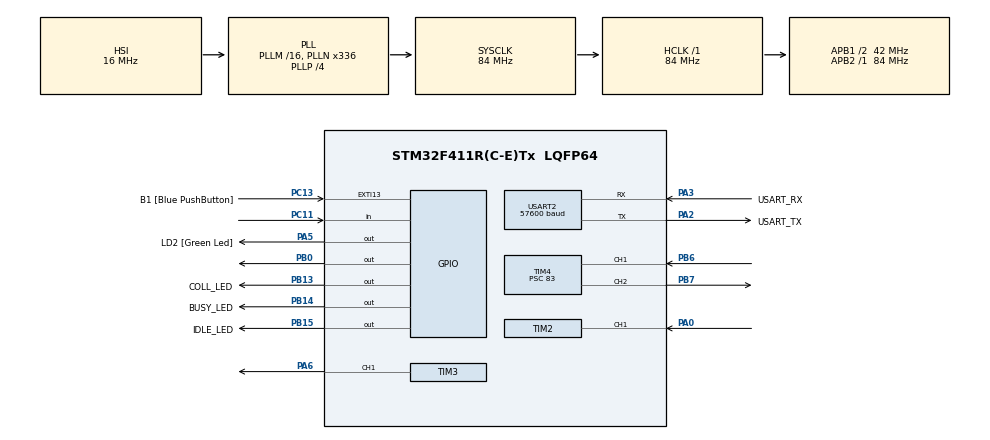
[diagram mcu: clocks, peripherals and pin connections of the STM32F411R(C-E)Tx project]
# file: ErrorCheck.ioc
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Mcu.Family=STM32F4
Mcu.Name=STM32F411R(C-E)Tx
Mcu.Package=LQFP64
NVIC.PriorityGroup=NVIC_PRIORITYGROUP_0
NVIC.TIM2_IRQn=true\:0\:0\:false\:false\:true\:true\:true\:true
NVIC.TIM3_IRQn=true\:0\:0\:false\:false\:true\:true\:true\:true
NVIC.TIM4_IRQn=true\:0\:0\:false\:false\:true\:true\:true\:true
NVIC.TIM5_IRQn=true\:0\:0\:false\:false\:true\:true\:true\:true
PA0-WKUP.Signal=S_TIM2_CH1_ETR
PA13.GPIO_Label=TMS
PA13.Mode=Serial_Wire
PA13.Signal=SYS_JTMS-SWDIO
PA14.GPIO_Label=TCK
PA14.Mode=Serial_Wire
PA14.Signal=SYS_JTCK-SWCLK
PA2.GPIO_Label=USART_TX
PA2.Mode=Asynchronous
PA2.Signal=USART2_TX
PA3.GPIO_Label=USART_RX
PA3.Mode=Asynchronous
PA3.Signal=USART2_RX
PA5.GPIO_Label=LD2 [Green Led]
PA5.Signal=GPIO_Output
PA6.Signal=S_TIM3_CH1
PB0.Signal=GPIO_Output
PB13.GPIO_Label=COLL_LED
PB13.Signal=GPIO_Output
PB14.GPIO_Label=BUSY_LED
PB14.Signal=GPIO_Output
PB15.GPIO_Label=IDLE_LED
PB15.Signal=GPIO_Output
PB3.GPIO_Label=SWO
PB3.Signal=SYS_JTDO-SWO
PB6.Signal=S_TIM4_CH1
PB7.Signal=S_TIM4_CH2
PC11.Signal=GPIO_Input
PC13-ANTI_TAMP.GPIO_Label=B1 [Blue PushButton]
PC13-ANTI_TAMP.GPIO_ModeDefaultEXTI=GPIO_MODE_IT_FALLING
PC13-ANTI_TAMP.Signal=GPXTI13
PC14-OSC32_IN.Mode=LSE-External-Oscillator
PC14-OSC32_IN.Signal=RCC_OSC32_IN
PC15-OSC32_OUT.Mode=LSE-External-Oscillator
PC15-OSC32_OUT.Signal=RCC_OSC32_OUT
PH0\ -\ OSC_IN.Mode=HSE-External-Clock-Source
PH0\ -\ OSC_IN.Signal=RCC_OSC_IN
PH1\ -\ OSC_OUT.Mode=HSE-External-Clock-Source
PH1\ -\ OSC_OUT.Signal=RCC_OSC_OUT
ProjectManager.HeapSize=0x200
ProjectManager.StackSize=0x400
ProjectManager.TargetToolchain=STM32CubeIDE
RCC.48MHZClocksFreq_Value=84000000
RCC.AHBFreq_Value=84000000
RCC.APB1CLKDivider=RCC_HCLK_DIV2
RCC.APB1Freq_Value=42000000
RCC.APB1TimFreq_Value=84000000
RCC.APB2Freq_Value=84000000
RCC.APB2TimFreq_Value=84000000
RCC.CortexFreq_Value=84000000
RCC.FLatency-AdvancedSettings=FLASH_LATENCY_2
RCC.HCLKFreq_Value=84000000
RCC.HSE_VALUE=8000000
RCC.HSI_VALUE=16000000
RCC.PLLN=336
RCC.PLLP=RCC_PLLP_DIV4
RCC.SYSCLKFreq_VALUE=84000000
RCC.SYSCLKSource=RCC_SYSCLKSOURCE_PLLCLK
RCC.VCOOutputFreq_Value=336000000
SH.S_TIM2_CH1_ETR.0=TIM2_CH1,Input_Capture1_from_TI1
SH.S_TIM3_CH1.0=TIM3_CH1,Output Compare1 CH1
SH.S_TIM4_CH1.0=TIM4_CH1,Input_Capture1_from_TI1
SH.S_TIM4_CH2.0=TIM4_CH2,Output Compare2 CH2
TIM2.Channel-Input_Capture1_from_TI1=TIM_CHANNEL_1
TIM2.ICPolarity_CH1=TIM_INPUTCHANNELPOLARITY_BOTHEDGE
TIM2.Prescaler=83
TIM3.Channel-Output\ Compare1\ CH1=TIM_CHANNEL_1
TIM3.OCMode_1=TIM_OCMODE_TIMING
TIM3.Period=500
TIM3.Prescaler=83
TIM3.Pulse-Output\ Compare1\ CH1=500
TIM4.Channel-Input_Capture1_from_TI1=TIM_CHANNEL_1
TIM4.Channel-Output\ Compare2\ CH2=TIM_CHANNEL_2
TIM4.ICPolarity_CH1=TIM_INPUTCHANNELPOLARITY_BOTHEDGE
TIM4.OC2Preload=ENABLE
TIM4.OCMode_2=TIM_OCMODE_TIMING
TIM4.Prescaler=83
TIM4.Pulse-Output\ Compare2\ CH2=1110
TIM5.Prescaler=41999
USART2.BaudRate=57600
USART2.VirtualMode=VM_ASYNC
VP_TIM5_VS_ClockSourceINT.Mode=Internal
board=NUCLEO-F411RE

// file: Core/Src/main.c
/* USER CODE BEGIN Header */
/**
  ******************************************************************************
  * @file           : main.c
  * @brief          : Main program body
  ******************************************************************************
  * @attention
  *
  * Copyright (c) 2025 STMicroelectronics.
  * All rights reserved.
  *
  * This software is licensed under terms that can be found in the LICENSE file
  * in the root directory of this software component.
  * If no LICENSE file comes with this software, it is provided AS-IS.
  *
  ******************************************************************************
  */
/* USER CODE END Header */
#include "main.h"

/* USER CODE BEGIN PTD */

typedef enum
{
  IDLE,
  BUSY,
  COLLISION,
} state_t;

/* USER CODE END PTD */

/* USER CODE BEGIN PD */
#define DELAY 1110
#define HALF_BIT 700
#define LEN 255
#define NMAX 2000
#define MY_ADDR 0x28
/* PB6 - Channel Monitor
 * PA5 - Transmitter
 * PA0 - Receiver
 */
/* USER CODE END PD */

TIM_HandleTypeDef htim2;
TIM_HandleTypeDef htim3;
TIM_HandleTypeDef htim4;
TIM_HandleTypeDef htim5;

UART_HandleTypeDef huart2;

/* USER CODE BEGIN PV */
state_t curr_state;
uint8_t phase = 0;
uint32_t curr_index = 0;
char curr_char;
uint8_t curr_bit = 0;
uint8_t rec_bit = 0;
uint32_t rec_index = 0;
uint8_t size = 0;
char input[261] = "";
char msg_buff[LEN] = "";
char option;
uint8_t curr_level;
uint8_t prev_level = 1;
uint32_t last_edge = 0;
bool first_edge = true;
bool print_msg = false;
bool tx_failed = false;
bool start = false;
uint8_t attempts = 0;
/* USER CODE END PV */

void SystemClock_Config(void);
static void MX_GPIO_Init(void);
static void MX_USART2_UART_Init(void);
static void MX_TIM4_Init(void);
static void MX_TIM3_Init(void);
static void MX_TIM2_Init(void);
static void MX_TIM5_Init(void);
/* USER CODE BEGIN PFP */
//uint8_t gencrc(uint8_t *data, uint32_t len) {
//	uint8_t crc = 0xff;
//	uint32_t i, j;
//	for (i = 0; i < len; i++) {
//		crc ^= data[i];
//		for (j = 0; j < 8; j++) {
//			if ((crc & 0x80) != 0)
//				crc = (uint8_t) ((crc << 1) ^ 0x31);
//			else
//				crc <<= 1;
//		}
//	}
//	return crc;
//}
/* USER CODE END PFP */

int main(void)
{

  /* MCU Configuration--------------------------------------------------------*/

  /* Reset of all peripherals, Initializes the Flash interface and the Systick. */
  HAL_Init();

  /* Configure the system clock */
  SystemClock_Config();

  /* Initialize all configured peripherals */
  MX_GPIO_Init();
  MX_USART2_UART_Init();
  MX_TIM4_Init();
  MX_TIM3_Init();
  MX_TIM2_Init();
  MX_TIM5_Init();
  /* USER CODE BEGIN 2 */

  curr_state = IDLE;
  HAL_GPIO_WritePin(IDLE_LED_GPIO_Port, IDLE_LED_Pin, GPIO_PIN_SET);
  HAL_GPIO_WritePin(GPIOA, GPIO_PIN_5, GPIO_PIN_SET); //SET IDLE
  printf("List of commands\n"
		  "t - Transmit Message\n"
		  "r - Check for received message\n");
  srand(HAL_GetTick());
  HAL_TIM_IC_Start_IT(&htim4, TIM_CHANNEL_1);
  HAL_TIM_IC_Start_IT(&htim2, TIM_CHANNEL_1);
  /* USER CODE END 2 */

  /* Infinite loop */
  while (1)
  {

    /* USER CODE BEGIN 3 */
	  	printf("Enter cmd\n");
	    scanf(" %c", &option);
	    switch (option) {
		case 't':
			printf("Enter Address:\n");
			uint8_t dest_addr;
			scanf("% d", &dest_addr);
			printf("Enter Message:\n");
			char msg[LEN];
			scanf(" %[^\n]", &msg);
			size = strlen(msg);
			input[0] = 0x55;
			input[1] = MY_ADDR;
			input[2] = dest_addr;
			input[3] = size;
			input[4] = 0x00;
			for (uint8_t i = 0; i < size; i++) {
				input[5 + i] = msg[i];
			}
			input[5 + size] = 0xAA;
			if(HAL_GPIO_ReadPin(GPIOB, GPIO_PIN_6) == GPIO_PIN_RESET){
			  	  curr_state = COLLISION;
			}
			phase = 0;
			curr_bit = 0;
			curr_index = 0;
			curr_char = input[curr_index];
			HAL_TIM_OC_Start_IT(&htim3, TIM_CHANNEL_1);
			break;
		case 'r':
			if (print_msg) {
				printf("Received message from 0x%02X: ", msg_buff[1]);
				for (uint16_t i = 5; i < rec_index - 1; i++) {
					printf("%c", msg_buff[i]);
				}
				printf("\n");
			} else{
				printf("No received messages\n");
			}
			print_msg = false;
			rec_index = 0;
			rec_bit = 0;
			uint8_t prev_level = 1;
			bool first_edge = true;
			memset(msg_buff, 0, LEN);
			break;
		default:
			break;
		}
		switch (curr_state) {
		case IDLE:
//			if (start) {
//				HAL_TIM_OC_Start_IT(&htim3, TIM_CHANNEL_1);
//				start = false;
//			}
			HAL_GPIO_WritePin(IDLE_LED_GPIO_Port, IDLE_LED_Pin, GPIO_PIN_SET);
			HAL_GPIO_WritePin(COLL_LED_GPIO_Port, COLL_LED_Pin, GPIO_PIN_RESET);
			HAL_GPIO_WritePin(BUSY_LED_GPIO_Port, BUSY_LED_Pin, GPIO_PIN_RESET);
			break;
		case BUSY:
			HAL_GPIO_WritePin(BUSY_LED_GPIO_Port, BUSY_LED_Pin, GPIO_PIN_SET);
			HAL_GPIO_WritePin(IDLE_LED_GPIO_Port, IDLE_LED_Pin, GPIO_PIN_RESET);
			HAL_GPIO_WritePin(COLL_LED_GPIO_Port, COLL_LED_Pin, GPIO_PIN_RESET);
			break;
		case COLLISION:
			if (curr_index < 6 + size && attempts <= 10) {
				HAL_TIM_OC_Stop(&htim3, TIM_CHANNEL_1);
				phase = 0;
				curr_bit = 0;
				curr_index = 0;
				curr_char = input[curr_index];
				tx_failed = true;
				TIM5->ARR = (rand() % NMAX) + 1;
				TIM5->EGR |= 0x1;
				HAL_TIM_Base_Start_IT(&htim5);
				attempts++;
			}
			if(attempts > 10){
				HAL_TIM_OC_Stop(&htim3, TIM_CHANNEL_1);
				phase = 0;
				curr_bit = 0;
				curr_index = 0;
				curr_char = input[curr_index];
			}
			HAL_GPIO_WritePin(COLL_LED_GPIO_Port, COLL_LED_Pin, GPIO_PIN_SET);
			HAL_GPIO_WritePin(IDLE_LED_GPIO_Port, IDLE_LED_Pin, GPIO_PIN_RESET);
			HAL_GPIO_WritePin(BUSY_LED_GPIO_Port, BUSY_LED_Pin, GPIO_PIN_RESET);
			break;
		default:
			break;
		}
	}
  /* USER CODE END 3 */
}

void SystemClock_Config(void)
{
  RCC_OscInitTypeDef RCC_OscInitStruct = {0};
  RCC_ClkInitTypeDef RCC_ClkInitStruct = {0};

  /** Configure the main internal regulator output voltage
  */
  __HAL_RCC_PWR_CLK_ENABLE();
  __HAL_PWR_VOLTAGESCALING_CONFIG(PWR_REGULATOR_VOLTAGE_SCALE1);

  /** Initializes the RCC Oscillators according to the specified parameters
  * in the RCC_OscInitTypeDef structure.
  */
  RCC_OscInitStruct.OscillatorType = RCC_OSCILLATORTYPE_HSI;
  RCC_OscInitStruct.HSIState = RCC_HSI_ON;
  RCC_OscInitStruct.HSICalibrationValue = RCC_HSICALIBRATION_DEFAULT;
  RCC_OscInitStruct.PLL.PLLState = RCC_PLL_ON;
  RCC_OscInitStruct.PLL.PLLSource = RCC_PLLSOURCE_HSI;
  RCC_OscInitStruct.PLL.PLLM = 16;
  RCC_OscInitStruct.PLL.PLLN = 336;
  RCC_OscInitStruct.PLL.PLLP = RCC_PLLP_DIV4;
  RCC_OscInitStruct.PLL.PLLQ = 4;
  if (HAL_RCC_OscConfig(&RCC_OscInitStruct) != HAL_OK)
  {
    Error_Handler();
  }

  /** Initializes the CPU, AHB and APB buses clocks
  */
  RCC_ClkInitStruct.ClockType = RCC_CLOCKTYPE_HCLK|RCC_CLOCKTYPE_SYSCLK
                              |RCC_CLOCKTYPE_PCLK1|RCC_CLOCKTYPE_PCLK2;
  RCC_ClkInitStruct.SYSCLKSource = RCC_SYSCLKSOURCE_PLLCLK;
  RCC_ClkInitStruct.AHBCLKDivider = RCC_SYSCLK_DIV1;
  RCC_ClkInitStruct.APB1CLKDivider = RCC_HCLK_DIV2;
  RCC_ClkInitStruct.APB2CLKDivider = RCC_HCLK_DIV1;

  if (HAL_RCC_ClockConfig(&RCC_ClkInitStruct, FLASH_LATENCY_2) != HAL_OK)
  {
    Error_Handler();
  }
}

static void MX_TIM2_Init(void)
{

  TIM_MasterConfigTypeDef sMasterConfig = {0};
  TIM_IC_InitTypeDef sConfigIC = {0};

  htim2.Instance = TIM2;
  htim2.Init.Prescaler = 83;
  htim2.Init.CounterMode = TIM_COUNTERMODE_UP;
  htim2.Init.Period = 4294967295;
  htim2.Init.ClockDivision = TIM_CLOCKDIVISION_DIV1;
  htim2.Init.AutoReloadPreload = TIM_AUTORELOAD_PRELOAD_DISABLE;
  if (HAL_TIM_IC_Init(&htim2) != HAL_OK)
  {
    Error_Handler();
  }
  sMasterConfig.MasterOutputTrigger = TIM_TRGO_RESET;
  sMasterConfig.MasterSlaveMode = TIM_MASTERSLAVEMODE_DISABLE;
  if (HAL_TIMEx_MasterConfigSynchronization(&htim2, &sMasterConfig) != HAL_OK)
  {
    Error_Handler();
  }
  sConfigIC.ICPolarity = TIM_INPUTCHANNELPOLARITY_BOTHEDGE;
  sConfigIC.ICSelection = TIM_ICSELECTION_DIRECTTI;
  sConfigIC.ICPrescaler = TIM_ICPSC_DIV1;
  sConfigIC.ICFilter = 0;
  if (HAL_TIM_IC_ConfigChannel(&htim2, &sConfigIC, TIM_CHANNEL_1) != HAL_OK)
  {
    Error_Handler();
  }

}

static void MX_TIM3_Init(void)
{

  TIM_MasterConfigTypeDef sMasterConfig = {0};
  TIM_OC_InitTypeDef sConfigOC = {0};

  htim3.Instance = TIM3;
  htim3.Init.Prescaler = 83;
  htim3.Init.CounterMode = TIM_COUNTERMODE_UP;
  htim3.Init.Period = 500;
  htim3.Init.ClockDivision = TIM_CLOCKDIVISION_DIV1;
  htim3.Init.AutoReloadPreload = TIM_AUTORELOAD_PRELOAD_DISABLE;
  if (HAL_TIM_OC_Init(&htim3) != HAL_OK)
  {
    Error_Handler();
  }
  sMasterConfig.MasterOutputTrigger = TIM_TRGO_RESET;
  sMasterConfig.MasterSlaveMode = TIM_MASTERSLAVEMODE_DISABLE;
  if (HAL_TIMEx_MasterConfigSynchronization(&htim3, &sMasterConfig) != HAL_OK)
  {
    Error_Handler();
  }
  sConfigOC.OCMode = TIM_OCMODE_TIMING;
  sConfigOC.Pulse = 500;
  sConfigOC.OCPolarity = TIM_OCPOLARITY_HIGH;
  sConfigOC.OCFastMode = TIM_OCFAST_DISABLE;
  if (HAL_TIM_OC_ConfigChannel(&htim3, &sConfigOC, TIM_CHANNEL_1) != HAL_OK)
  {
    Error_Handler();
  }
  HAL_TIM_MspPostInit(&htim3);

}

static void MX_TIM4_Init(void)
{

  TIM_MasterConfigTypeDef sMasterConfig = {0};
  TIM_IC_InitTypeDef sConfigIC = {0};
  TIM_OC_InitTypeDef sConfigOC = {0};

  htim4.Instance = TIM4;
  htim4.Init.Prescaler = 83;
  htim4.Init.CounterMode = TIM_COUNTERMODE_UP;
  htim4.Init.Period = 65535;
  htim4.Init.ClockDivision = TIM_CLOCKDIVISION_DIV1;
  htim4.Init.AutoReloadPreload = TIM_AUTORELOAD_PRELOAD_DISABLE;
  if (HAL_TIM_IC_Init(&htim4) != HAL_OK)
  {
    Error_Handler();
  }
  if (HAL_TIM_OC_Init(&htim4) != HAL_OK)
  {
    Error_Handler();
  }
  sMasterConfig.MasterOutputTrigger = TIM_TRGO_RESET;
  sMasterConfig.MasterSlaveMode = TIM_MASTERSLAVEMODE_DISABLE;
  if (HAL_TIMEx_MasterConfigSynchronization(&htim4, &sMasterConfig) != HAL_OK)
  {
    Error_Handler();
  }
  sConfigIC.ICPolarity = TIM_INPUTCHANNELPOLARITY_BOTHEDGE;
  sConfigIC.ICSelection = TIM_ICSELECTION_DIRECTTI;
  sConfigIC.ICPrescaler = TIM_ICPSC_DIV1;
  sConfigIC.ICFilter = 0;
  if (HAL_TIM_IC_ConfigChannel(&htim4, &sConfigIC, TIM_CHANNEL_1) != HAL_OK)
  {
    Error_Handler();
  }
  sConfigOC.OCMode = TIM_OCMODE_TIMING;
  sConfigOC.Pulse = 1110;
  sConfigOC.OCPolarity = TIM_OCPOLARITY_HIGH;
  sConfigOC.OCFastMode = TIM_OCFAST_DISABLE;
  if (HAL_TIM_OC_ConfigChannel(&htim4, &sConfigOC, TIM_CHANNEL_2) != HAL_OK)
  {
    Error_Handler();
  }
  __HAL_TIM_ENABLE_OCxPRELOAD(&htim4, TIM_CHANNEL_2);
  HAL_TIM_MspPostInit(&htim4);

}

static void MX_TIM5_Init(void)
{

  TIM_ClockConfigTypeDef sClockSourceConfig = {0};
  TIM_MasterConfigTypeDef sMasterConfig = {0};

  /* USER CODE BEGIN TIM5_Init 1 */
  //Prescaler  of 41999 = Nmax of 2000
  /* USER CODE END TIM5_Init 1 */
  htim5.Instance = TIM5;
  htim5.Init.Prescaler = 41999;
  htim5.Init.CounterMode = TIM_COUNTERMODE_UP;
  htim5.Init.Period = 4294967295;
  htim5.Init.ClockDivision = TIM_CLOCKDIVISION_DIV1;
  htim5.Init.AutoReloadPreload = TIM_AUTORELOAD_PRELOAD_DISABLE;
  if (HAL_TIM_Base_Init(&htim5) != HAL_OK)
  {
    Error_Handler();
  }
  sClockSourceConfig.ClockSource = TIM_CLOCKSOURCE_INTERNAL;
  if (HAL_TIM_ConfigClockSource(&htim5, &sClockSourceConfig) != HAL_OK)
  {
    Error_Handler();
  }
  sMasterConfig.MasterOutputTrigger = TIM_TRGO_RESET;
  sMasterConfig.MasterSlaveMode = TIM_MASTERSLAVEMODE_DISABLE;
  if (HAL_TIMEx_MasterConfigSynchronization(&htim5, &sMasterConfig) != HAL_OK)
  {
    Error_Handler();
  }

}

static void MX_USART2_UART_Init(void)
{

  huart2.Instance = USART2;
  huart2.Init.BaudRate = 57600;
  huart2.Init.WordLength = UART_WORDLENGTH_8B;
  huart2.Init.StopBits = UART_STOPBITS_1;
  huart2.Init.Parity = UART_PARITY_NONE;
  huart2.Init.Mode = UART_MODE_TX_RX;
  huart2.Init.HwFlowCtl = UART_HWCONTROL_NONE;
  huart2.Init.OverSampling = UART_OVERSAMPLING_16;
  if (HAL_UART_Init(&huart2) != HAL_OK)
  {
    Error_Handler();
  }

}

static void MX_GPIO_Init(void)
{
  GPIO_InitTypeDef GPIO_InitStruct = {0};

  /* GPIO Ports Clock Enable */
  __HAL_RCC_GPIOC_CLK_ENABLE();
  __HAL_RCC_GPIOH_CLK_ENABLE();
  __HAL_RCC_GPIOA_CLK_ENABLE();
  __HAL_RCC_GPIOB_CLK_ENABLE();

  /*Configure GPIO pin Output Level */
  HAL_GPIO_WritePin(LD2_GPIO_Port, LD2_Pin, GPIO_PIN_RESET);

  /*Configure GPIO pin Output Level */
  HAL_GPIO_WritePin(GPIOB, GPIO_PIN_0|COLL_LED_Pin|BUSY_LED_Pin|IDLE_LED_Pin, GPIO_PIN_RESET);

  /*Configure GPIO pin : B1_Pin */
  GPIO_InitStruct.Pin = B1_Pin;
  GPIO_InitStruct.Mode = GPIO_MODE_IT_FALLING;
  GPIO_InitStruct.Pull = GPIO_NOPULL;
  HAL_GPIO_Init(B1_GPIO_Port, &GPIO_InitStruct);

  /*Configure GPIO pin : LD2_Pin */
  GPIO_InitStruct.Pin = LD2_Pin;
  GPIO_InitStruct.Mode = GPIO_MODE_OUTPUT_PP;
  GPIO_InitStruct.Pull = GPIO_NOPULL;
  GPIO_InitStruct.Speed = GPIO_SPEED_FREQ_LOW;
  HAL_GPIO_Init(LD2_GPIO_Port, &GPIO_InitStruct);

  /*Configure GPIO pins : PB0 COLL_LED_Pin BUSY_LED_Pin IDLE_LED_Pin */
  GPIO_InitStruct.Pin = GPIO_PIN_0|COLL_LED_Pin|BUSY_LED_Pin|IDLE_LED_Pin;
  GPIO_InitStruct.Mode = GPIO_MODE_OUTPUT_PP;
  GPIO_InitStruct.Pull = GPIO_NOPULL;
  GPIO_InitStruct.Speed = GPIO_SPEED_FREQ_LOW;
  HAL_GPIO_Init(GPIOB, &GPIO_InitStruct);

  /*Configure GPIO pin : PC11 */
  GPIO_InitStruct.Pin = GPIO_PIN_11;
  GPIO_InitStruct.Mode = GPIO_MODE_INPUT;
  GPIO_InitStruct.Pull = GPIO_NOPULL;
  HAL_GPIO_Init(GPIOC, &GPIO_InitStruct);

}

/* USER CODE BEGIN 4 */
void HAL_TIM_IC_CaptureCallback (TIM_HandleTypeDef * htim){
	if (htim->Instance == TIM4) {
		HAL_TIM_OC_Stop(&htim4, TIM_CHANNEL_2);
		TIM4->CCR2 = TIM4->CCR1 + DELAY;
		uint32_t temp = TIM4->CNT;
		TIM4->EGR |= 0x1;
		TIM4->CNT = temp;
		HAL_TIM_OC_Start_IT(&htim4, TIM_CHANNEL_2);
	    curr_state = BUSY;
	    HAL_GPIO_WritePin(BUSY_LED_GPIO_Port, BUSY_LED_Pin, GPIO_PIN_SET);
	    HAL_GPIO_WritePin(IDLE_LED_GPIO_Port, IDLE_LED_Pin, GPIO_PIN_RESET);
	    HAL_GPIO_WritePin(COLL_LED_GPIO_Port, COLL_LED_Pin, GPIO_PIN_RESET);
	}
	if (htim->Instance == TIM2) {
			uint32_t curr_edge = TIM2->CCR1;
			int diff = abs((int) curr_edge - (int) last_edge);
			if ((first_edge && (HAL_GPIO_ReadPin(GPIOA, GPIO_PIN_0) == 0))
					|| diff > HALF_BIT) {
				first_edge = false;
				curr_level = HAL_GPIO_ReadPin(GPIOA, GPIO_PIN_0);
				if (curr_level > prev_level) { // 1
					msg_buff[rec_index] = (msg_buff[rec_index] << 0x1) | 0x1;
				} else { // 0
					msg_buff[rec_index] = msg_buff[rec_index] << 0x1;
				}
				rec_bit++;
				if (rec_bit > 7) {
					rec_bit = 0;
					rec_index++;
				}
				last_edge = curr_edge;
				prev_level = HAL_GPIO_ReadPin(GPIOA, GPIO_PIN_0);
			} else {
				prev_level = HAL_GPIO_ReadPin(GPIOA, GPIO_PIN_0);
			}
			if (rec_index > 2 && (msg_buff[2] == MY_ADDR || msg_buff[2] == 0xFF)  && (rec_index >= 6 + msg_buff[3])) {
				print_msg = true;
			}
	}
}

void HAL_TIM_OC_DelayElapsedCallback (TIM_HandleTypeDef * htim){
	if(htim->Instance == TIM4) {
		if(HAL_GPIO_ReadPin(GPIOB, GPIO_PIN_6) == GPIO_PIN_SET){
			curr_state = IDLE;
			HAL_GPIO_WritePin(IDLE_LED_GPIO_Port, IDLE_LED_Pin, GPIO_PIN_SET);
			HAL_GPIO_WritePin(COLL_LED_GPIO_Port, COLL_LED_Pin, GPIO_PIN_RESET);
			HAL_GPIO_WritePin(BUSY_LED_GPIO_Port, BUSY_LED_Pin, GPIO_PIN_RESET);
		} else{
			curr_state = COLLISION;
			HAL_TIM_OC_Stop(&htim3, TIM_CHANNEL_1);
			phase = 0;
			curr_bit = 0;
			curr_index = 0;
			curr_char = input[curr_index];
			HAL_GPIO_WritePin(GPIOA, GPIO_PIN_5, GPIO_PIN_SET);
			HAL_GPIO_WritePin(COLL_LED_GPIO_Port, COLL_LED_Pin, GPIO_PIN_SET);
			HAL_GPIO_WritePin(IDLE_LED_GPIO_Port, IDLE_LED_Pin, GPIO_PIN_RESET);
			HAL_GPIO_WritePin(BUSY_LED_GPIO_Port, BUSY_LED_Pin, GPIO_PIN_RESET);
		}
	}
	if(htim->Instance == TIM3){
		if(!tx_failed && curr_state != COLLISION && curr_index < 6+ size){
			if(phase == 0){
				if((( ((uint8_t)curr_char) >>(7-curr_bit)) & 1) == 1){
					HAL_GPIO_WritePin(GPIOA, GPIO_PIN_5, GPIO_PIN_RESET);
				} else{
					HAL_GPIO_WritePin(GPIOA, GPIO_PIN_5, GPIO_PIN_SET);
				}
			} else{
				if((( ((uint8_t)curr_char) >>(7-curr_bit)) & 1) == 1){
					HAL_GPIO_WritePin(GPIOA, GPIO_PIN_5, GPIO_PIN_SET);
				} else {
					HAL_GPIO_WritePin(GPIOA, GPIO_PIN_5, GPIO_PIN_RESET);
				}
					curr_bit++;
			}
			if(curr_bit > 7){
				curr_bit = 0;
				curr_index++;
			}
			phase ^= 1;
			curr_char = input[curr_index];
			if(curr_index >= 6 + size){
				HAL_GPIO_WritePin(GPIOA, GPIO_PIN_5, GPIO_PIN_SET); //SET TO IDLE
				HAL_TIM_OC_Stop(&htim3, TIM_CHANNEL_1);
				tx_failed = false;
				attempts = 0;
			}
		}
	}
}
void HAL_TIM_PeriodElapsedCallback(TIM_HandleTypeDef *htim){
	if(htim->Instance == TIM5) {
		if (tx_failed && curr_state == IDLE && attempts <= 10) {
			HAL_TIM_OC_Start_IT(&htim3, TIM_CHANNEL_1);
			tx_failed = false;
		}
	}
}
/* USER CODE END 4 */

void Error_Handler(void)
{
  __disable_irq();
  while (1)
  {
  }
}
